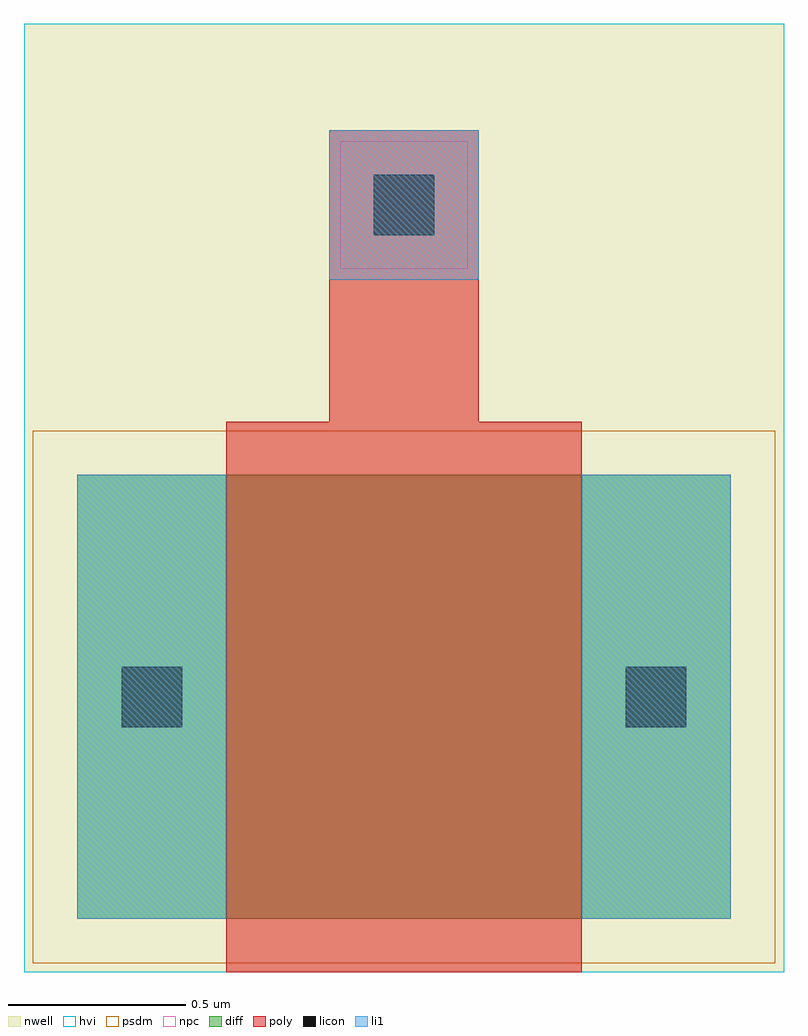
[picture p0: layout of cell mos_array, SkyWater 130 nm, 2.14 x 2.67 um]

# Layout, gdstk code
import gdstk
lib = gdstk.Library(unit=1e-6, precision=1e-09)
def R(c, l, rs):  # rectangles x0, y0, x1, y1
    for r in rs: c.add(gdstk.rectangle(r[:2], r[2:], *l))
nwell = (64, 20)
diff = (65, 20)
poly = (66, 20)
licon = (66, 44)
li1 = (67, 20)
hvi = (75, 20)
psdm = (94, 20)
npc = (95, 20)

mos_array = lib.new_cell('mos_array')
R(mos_array, nwell, [(-0.15,-0.15,1.99,2.52)])
R(mos_array, diff, [(0,0,1.84,1.25)])
R(mos_array, poly, [(0.42,-0.15,1.42,1.25), (0.42,1.25,1.42,1.4), (0.42,1.25,1.42,1.4), (0.71,1.4,1.13,2.22)])
R(mos_array, licon, [(0.125,0.54,0.295,0.71), (1.545,0.54,1.715,0.71), (0.835,1.925,1.005,2.095)])
R(mos_array, li1, [(0,0,0.42,1.25), (1.42,0,1.84,1.25), (0.71,1.8,1.13,2.22)])
R(mos_array, hvi, [(-0.15,-0.15,1.99,2.52)])
R(mos_array, psdm, [(-0.125,-0.125,1.965,1.375)])
R(mos_array, npc, [(0.74,1.83,1.1,2.19)])

lib.write_gds('mos_array.gds')
